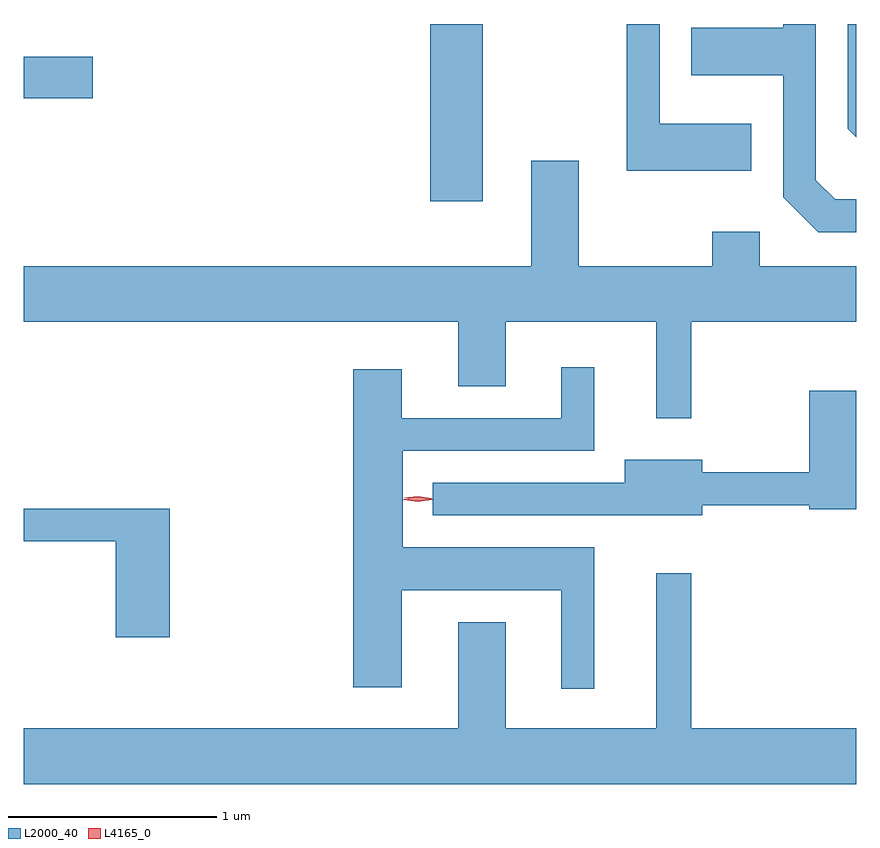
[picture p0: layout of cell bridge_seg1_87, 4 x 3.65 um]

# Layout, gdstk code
import gdstk
lib = gdstk.Library(unit=1e-6, precision=1e-09)
def R(c, l, rs):  # rectangles x0, y0, x1, y1
    for r in rs: c.add(gdstk.rectangle(r[:2], r[2:], *l))
def P(c, l, *ps):  # polygons
    for p in ps: c.add(gdstk.Polygon(p, *l))
L2000_40 = (2000, 40)
L4165_0 = (4165, 0)

bridge_seg1_87 = lib.new_cell('bridge_seg1_87')
R(bridge_seg1_87, L2000_40, [(1176.556,922.356,1176.809,923.207), (1174.603,922.851,1174.934,923.049)])
P(bridge_seg1_87, L2000_40, [(1178.099,922.729),(1177.659,922.729),(1177.659,923.207),(1177.501,923.207),(1177.501,922.501),(1178.099,922.501)],
  [(1178.603,923.207),(1178.561,923.207),(1178.561,922.704),(1178.603,922.662)],
  [(1178.603,922.364),(1178.502,922.364),(1178.409,922.457),(1178.409,923.207),(1178.251,923.207),(1178.251,923.189),(1177.811,923.189),(1177.811,922.961),(1178.251,922.961),(1178.251,922.374),(1178.419,922.206),(1178.603,922.206)],
  [(1177.809,921.776),(1178.603,921.776),(1178.603,922.044),(1178.139,922.044),(1178.139,922.209),(1177.911,922.209),(1177.911,922.044),(1177.269,922.044),(1177.269,922.549),(1177.041,922.549),(1177.041,922.044),(1174.603,922.044),(1174.603,921.776),(1176.691,921.776),(1176.691,921.466),(1176.919,921.466),(1176.919,921.776),(1177.641,921.776),(1177.641,921.313),(1177.809,921.313)],
  [(1177.344,920.694),(1176.424,920.694),(1176.424,921.156),(1177.344,921.156),(1177.344,921.558),(1177.186,921.558),(1177.186,921.314),(1176.419,921.314),(1176.419,921.549),(1176.186,921.549),(1176.186,920.021),(1176.419,920.021),(1176.419,920.486),(1177.186,920.486),(1177.186,920.013),(1177.344,920.013)],
  [(1177.864,920.896),(1178.376,920.896),(1178.376,920.876),(1178.603,920.876),(1178.603,921.444),(1178.376,921.444),(1178.376,921.054),(1177.864,921.054),(1177.864,921.114),(1177.491,921.114),(1177.491,921.004),(1176.568,921.004),(1176.568,920.846),(1177.864,920.846)],
  [(1175.304,920.879),(1174.603,920.879),(1174.603,920.721),(1175.046,920.721),(1175.046,920.261),(1175.304,920.261)],
  [(1178.603,919.824),(1177.809,919.824),(1177.809,920.568),(1177.641,920.568),(1177.641,919.824),(1176.919,919.824),(1176.919,920.334),(1176.691,920.334),(1176.691,919.824),(1174.603,919.824),(1174.603,919.556),(1178.603,919.556)])
P(bridge_seg1_87, L4165_0, [(1176.497,920.912),(1176.428,920.922),(1176.427,920.922),(1176.428,920.923),(1176.497,920.932),(1176.566,920.923),(1176.566,920.922),(1176.566,920.922)],
  [(1176.496,920.919),(1176.431,920.93),(1176.43,920.93),(1176.431,920.93),(1176.497,920.939),(1176.562,920.928),(1176.563,920.928),(1176.562,920.927)])

lib.write_gds('bridge_seg1_87.gds')
